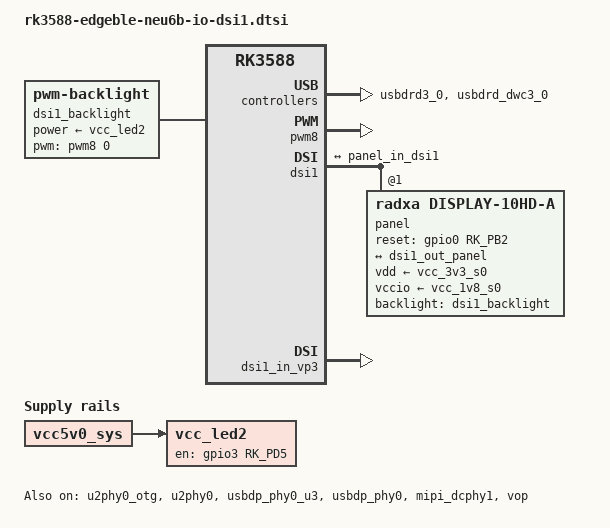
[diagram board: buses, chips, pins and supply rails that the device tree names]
// SPDX-License-Identifier: (GPL-2.0+ OR MIT)
/*
 * Copyright (c) 2023 Edgeble AI Technologies Pvt. Ltd.
 */

&usbdrd3_0 {
	status = "okay";
};

/* OTG, set dr_mode = "host"; for host */
&usbdrd_dwc3_0 {
	status = "okay";
};

&u2phy0_otg {
	status = "okay";
};

&u2phy0 {
	status = "okay";
};

&usbdp_phy0_u3 {
	status = "okay";
};

&usbdp_phy0 {
	status = "okay";
};

/* DSI1 */
/ {
	vcc_led2: vcc-led2 {
		compatible = "regulator-fixed";
		regulator-name = "vcc_led2";
		gpio = <&gpio3 RK_PD5 GPIO_ACTIVE_HIGH>;
		enable-active-high;
		pinctrl-names = "default";
		pinctrl-0 = <&dsi1_backlight_en>;
		regulator-always-on;
		regulator-boot-on;
		vin-supply = <&vcc5v0_sys>;
	};

	dsi1_backlight: dsi1-backlight {
		compatible = "pwm-backlight";
		pwms = <&pwm8 0 25000 0>;
		brightness-levels = <
			  0  20  20  21  21  22  22  23
			 23  24  24  25  25  26  26  27
			 27  28  28  29  29  30  30  31
			 31  32  32  33  33  34  34  35
			 35  36  36  37  37  38  38  39
			 40  41  42  43  44  45  46  47
			 48  49  50  51  52  53  54  55
			 56  57  58  59  60  61  62  63
			 64  65  66  67  68  69  70  71
			 72  73  74  75  76  77  78  79
			 80  81  82  83  84  85  86  87
			 88  89  90  91  92  93  94  95
			 96  97  98  99 100 101 102 103
			104 105 106 107 108 109 110 111
			112 113 114 115 116 117 118 119
			120 121 122 123 124 125 126 127
			128 129 130 131 132 133 134 135
			136 137 138 139 140 141 142 143
			144 145 146 147 148 149 150 151
			152 153 154 155 156 157 158 159
			160 161 162 163 164 165 166 167
			168 169 170 171 172 173 174 175
			176 177 178 179 180 181 182 183
			184 185 186 187 188 189 190 191
			192 193 194 195 196 197 198 199
			200 201 202 203 204 205 206 207
			208 209 210 211 212 213 214 215
			216 217 218 219 220 221 222 223
			224 225 226 227 228 229 230 231
			232 233 234 235 236 237 238 239
			240 241 242 243 244 245 246 247
			248 249 250 251 252 253 254 255
		>;
		default-brightness-level = <200>;
		power-supply = <&vcc_led2>;
	};
};

&pinctrl {
	backlight-1 {
		dsi1_backlight_en: dsi1-backlight-en {
			rockchip,pins = <3 RK_PD5 RK_FUNC_GPIO &pcfg_pull_up>;
		};
	};

	dsi1-lcd {
		dsi1_lcd_rst_gpio: dsi1-lcd-rst-gpio {
			rockchip,pins = <0 RK_PB2 RK_FUNC_GPIO &pcfg_pull_up>;
		};
	};
};

&pwm8 {
	status = "okay";
	pinctrl-names = "active";
	pinctrl-0 = <&pwm8m0_pins>;
};

&dsi1 {
	status = "okay";
	rockchip,lane-rate = <480>;
	#address-cells = <1>;
	#size-cells = <0>;

	ports {
		#address-cells = <1>;
		#size-cells = <0>;

		port@1 {
			reg = <1>;

			dsi1_out_panel: endpoint {
				remote-endpoint = <&panel_in_dsi1>;
			};
		};
	};

	panel@1 {
		compatible = "radxa,display-10hd-a", "jadard,jd9365da-h3";
		reg = <1>;
		backlight = <&dsi1_backlight>;
		vdd-supply = <&vcc_3v3_s0>;
		vccio-supply = <&vcc_1v8_s0>;
		reset-gpios = <&gpio0 RK_PB2 GPIO_ACTIVE_HIGH>;
		pinctrl-names = "default";
		pinctrl-0 = <&dsi1_lcd_rst_gpio>;

		port {
			panel_in_dsi1: endpoint {
				remote-endpoint = <&dsi1_out_panel>;
			};
		};
	};
};

&mipi_dcphy1 {
	status = "okay";
};

&display_subsystem {
	route {
		route_dsi1: route-dsi1 {
			status = "okay";
			connect = <&vp3_out_dsi1>;
		};
	};
};

&dsi1_in_vp2 {
	status = "disabled";
};

&dsi1_in_vp3 {
	status = "okay";
};

&vop {
	status = "okay";
};

&vop_mmu {
	status = "okay";
};

/* vp0 & vp1 splice for 8K output */
&vp0 {
	rockchip,plane-mask = <(1 << ROCKCHIP_VOP2_CLUSTER0 | 1 << ROCKCHIP_VOP2_ESMART0)>;
	rockchip,primary-plane = <ROCKCHIP_VOP2_CLUSTER0>;
	cursor-win-id = <ROCKCHIP_VOP2_ESMART0>;
};

&vp1 {
	rockchip,plane-mask = <(1 << ROCKCHIP_VOP2_CLUSTER1 | 1 << ROCKCHIP_VOP2_ESMART1)>;
	rockchip,primary-plane = <ROCKCHIP_VOP2_CLUSTER1>;
	cursor-win-id = <ROCKCHIP_VOP2_ESMART1>;
};

&vp2 {
	rockchip,plane-mask = <(1 << ROCKCHIP_VOP2_CLUSTER2 | 1 << ROCKCHIP_VOP2_ESMART2)>;
	rockchip,primary-plane = <ROCKCHIP_VOP2_CLUSTER2>;
	cursor-win-id = <ROCKCHIP_VOP2_ESMART2>;
};

&vp3 {
	rockchip,plane-mask = <(1 << ROCKCHIP_VOP2_CLUSTER3 | 1 << ROCKCHIP_VOP2_ESMART3)>;
	rockchip,primary-plane = <ROCKCHIP_VOP2_CLUSTER3>;
	cursor-win-id = <ROCKCHIP_VOP2_ESMART3>;
};
